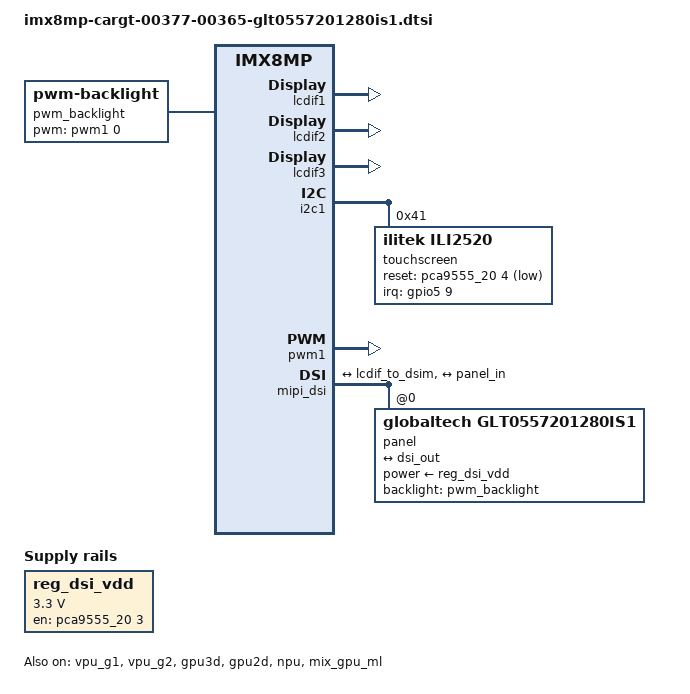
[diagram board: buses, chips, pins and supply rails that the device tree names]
/ {
	pwm_backlight: pwm_backlight {
		compatible = "pwm-backlight";
		pwms = <&pwm1 0 5000000 0>;
		brightness-levels = <0 100>;
		num-interpolated-steps = <100>;
		default-brightness-level = <80>;
		status = "okay";
	};

	reg_dsi_vdd: regulator-dsi-vdd {
		compatible = "regulator-fixed";
		regulator-name = "dsi_vdd";
		regulator-min-microvolt = <3300000>;
		regulator-max-microvolt = <3300000>;
		gpio = <&pca9555_20 3 GPIO_ACTIVE_HIGH>;
		enable-active-high;
		regulator-always-on;
		status = "okay";
	};
};

&lcdif1 {
	status = "okay";
};

&lcdif2 {
	status = "okay";
};

&lcdif3 {
	status = "okay";
};

&vpu_g1 {
	status = "okay";
};

&vpu_g2 {
	status = "okay";
};

&gpu3d {
	status = "okay";
};

&gpu2d {
	status = "okay";
};

&npu {
	status = "okay";
};

&mix_gpu_ml {
	status = "okay";
};

&i2c1 {
	status = "okay";

	touchscreen@41 {
		compatible = "ilitek,ili2520";
		reg = <0x41>;

		pinctrl-names = "default";
		pinctrl-0 = <&pinctrl_touchscreen>;
		reset-gpios = <&pca9555_20 4 GPIO_ACTIVE_LOW>;
		interrupt-parent = <&gpio5>;
		interrupts = <9 IRQ_TYPE_EDGE_FALLING>;
		touchscreen-swapped-x-y;
		touchscreen-inverted-x;
		wakeup-source;
	};
};

&pwm1 {
	pinctrl-names = "default";
	pinctrl-0 = <&pinctrl_backlight_pwm>;
	status = "okay";
};

&iomuxc {

	pinctrl_backlight_pwm: backlight-pwmgrp {
		fsl,pins = <			    
			MX8MP_IOMUXC_I2C4_SDA__PWM1_OUT			0x06
		>;
	};

	pinctrl_touchscreen: touchscreengrp {
		fsl,pins = <
			MX8MP_IOMUXC_ECSPI1_SS0__GPIO5_IO09		0x130 //Pull-up, input enabled, medium drive
		>;	 
	};
};

&mipi_dsi {
	#address-cells = <1>;
	#size-cells = <0>;
	status = "okay";

	/delete-node/ port;

	port@0 {
		dsim_from_lcdif: endpoint {
			remote-endpoint = <&lcdif_to_dsim>;
			data-lanes = <1 2 3 4>;
		};
	};

	port@1 {
		dsi_out: endpoint {
			remote-endpoint = <&panel_in>;
		};
	};

	panel@0 {
		compatible = "globaltech,glt0557201280is1", "ilitek,ili9881c";
		reg = <0>;
		rotation = <90>;
		backlight = <&pwm_backlight>;
		power-supply = <&reg_dsi_vdd>;
		status = "okay";

		port {
			panel_in: endpoint {
				remote-endpoint = <&dsi_out>;
			};
		};
	};
};

